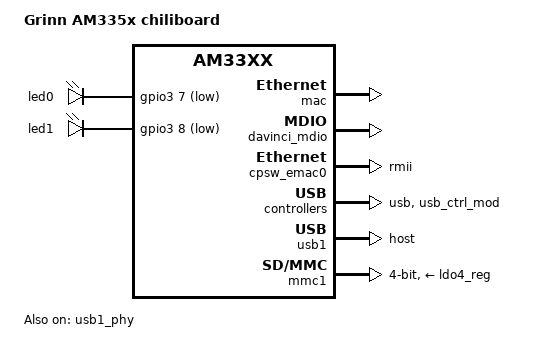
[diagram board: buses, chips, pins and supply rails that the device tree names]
/*
 * Copyright (C) 2015 Grinn - http://www.grinn-global.com
 * Grzegorz Glomb <g.glomb@grinn-global.com>
 *
 * This program is free software; you can redistribute it and/or modify
 * it under the terms of the GNU General Public License version 2 as
 * published by the Free Software Foundation.
 */

/ {
	model = "Grinn AM335x chiliboard";
	compatible = "grinn,am335x-chiliboard", "grinn,am335x-chilisom-gcs2", "ti,am33xx";

	leds {
		pinctrl-names = "default", "sleep";
		pinctrl-0 = <&user_leds_default>;
		pinctrl-1 = <&user_leds_sleep>;

		compatible = "gpio-leds";

		led@0 {
			label = "led0";
			gpios = <&gpio3 7 GPIO_ACTIVE_LOW>;
			linux,default-trigger = "heartbeat";
			default-state = "off";
		};

		led@1 {
			label = "led1";
			gpios = <&gpio3 8 GPIO_ACTIVE_LOW>;
			default-state = "off";
		};
	};
};

&am33xx_pinmux {
	pinctrl-names = "default";

	cpsw_default: cpsw_default {
		pinctrl-single,pins = <
			0x10c (PIN_INPUT_PULLDOWN | MUX_MODE1)	/* mii1_crs.rmii1_crs_dv */
			0x110 (PIN_INPUT_PULLDOWN | MUX_MODE1)	/* mii1_rxerr.rmii1_rxerr */
			0x114 (PIN_OUTPUT | MUX_MODE1)		/* mii1_txen.rmii1_txen */
			0x124 (PIN_OUTPUT | MUX_MODE1)		/* mii1_txd1.rmii1_txd1 */
			0x128 (PIN_OUTPUT | MUX_MODE1)		/* mii1_txd0.rmii1_txd0 */
			0x13c (PIN_INPUT_PULLDOWN | MUX_MODE1)	/* mii1_rxd1.rmii1_rxd1 */
			0x140 (PIN_INPUT_PULLDOWN | MUX_MODE1)	/* mii1_rxd0.rmii1_rxd0 */
			0x144 (PIN_INPUT_PULLDOWN | MUX_MODE0)	/* rmii1_refclk.rmii1_refclk */
		>;
	};

	cpsw_sleep: cpsw_sleep {
		pinctrl-single,pins = <
			0x10c (PIN_INPUT_PULLDOWN | MUX_MODE7)	/* mii1_crs.rmii1_crs_dv */
			0x110 (PIN_INPUT_PULLDOWN | MUX_MODE7)	/* mii1_rxerr.rmii1_rxerr */
			0x114 (PIN_INPUT_PULLDOWN | MUX_MODE7)	/* mii1_txen.rmii1_txen */
			0x124 (PIN_INPUT_PULLDOWN | MUX_MODE7)	/* mii1_txd1.rmii1_txd1 */
			0x128 (PIN_INPUT_PULLDOWN | MUX_MODE7)	/* mii1_txd0.rmii1_txd0 */
			0x13c (PIN_INPUT_PULLDOWN | MUX_MODE7)	/* mii1_rxd1.rmii1_rxd1 */
			0x140 (PIN_INPUT_PULLDOWN | MUX_MODE7)	/* mii1_rxd0.rmii1_rxd0 */
			0x144 (PIN_INPUT_PULLDOWN | MUX_MODE7)	/* rmii1_refclk.rmii1_refclk */
		>;
	};

	davinci_mdio_default: davinci_mdio_default {
		pinctrl-single,pins = <
			/* MDIO */
			0x148 (PIN_INPUT_PULLUP | SLEWCTRL_FAST | MUX_MODE0)	/* mdio_data.mdio_data */
			0x14c (PIN_OUTPUT_PULLUP | MUX_MODE0)			/* mdio_clk.mdio_clk */
		>;
	};

	davinci_mdio_sleep: davinci_mdio_sleep {
		pinctrl-single,pins = <
			/* MDIO reset value */
			0x148 (PIN_INPUT_PULLDOWN | MUX_MODE7)
			0x14c (PIN_INPUT_PULLDOWN | MUX_MODE7)
		>;
	};

	mmc1_pins_default: pinmux_mmc1_pins {
		pinctrl-single,pins = <
			0x0F0 (PIN_INPUT | MUX_MODE0)	/* mmc0_dat3.mmc0_dat3 */
			0x0F4 (PIN_INPUT | MUX_MODE0)	/* mmc0_dat2.mmc0_dat2 */
			0x0F8 (PIN_INPUT | MUX_MODE0)	/* mmc0_dat1.mmc0_dat1 */
			0x0FC (PIN_INPUT | MUX_MODE0)	/* mmc0_dat0.mmc0_dat0 */
			0x100 (PIN_INPUT | MUX_MODE0)	/* mmc0_clk.mmc0_clk */
			0x104 (PIN_INPUT | MUX_MODE0)	/* mmc0_cmd.mmc0_cmd */
			0x160 (PIN_INPUT | MUX_MODE7)	/* spi0_cs1.gpio0_6 */
		>;
	};

	user_leds_default: user_leds_default {
		pinctrl-single,pins = <
			0x1e4 (PIN_OUTPUT | MUX_MODE7)	/* emu0.gpio3_7 */
			0x1e8 (PIN_OUTPUT | MUX_MODE7)	/* emu1.gpio3_8 */
		>;
	};

	user_leds_sleep: user_leds_sleep {
		pinctrl-single,pins = <
			0x1e4 (PIN_INPUT_PULLUP | MUX_MODE7)	/* emu0.gpio3_7 */
			0x1e8 (PIN_INPUT_PULLUP | MUX_MODE7)	/* emu1.gpio3_8 */
		>;
	};

};

&mac {
	slaves = <1>;
	pinctrl-names = "default", "sleep";
	pinctrl-0 = <&cpsw_default>;
	pinctrl-1 = <&cpsw_sleep>;
	status = "okay";
};

&davinci_mdio {
	pinctrl-names = "default", "sleep";
	pinctrl-0 = <&davinci_mdio_default>;
	pinctrl-1 = <&davinci_mdio_sleep>;
	status = "okay";
};

&cpsw_emac0 {
	phy_id = <&davinci_mdio>, <0>;
	phy-mode = "rmii";
};

&phy_sel {
	rmii-clock-ext;
};

&usb {
	status = "okay";
};

&usb_ctrl_mod {
	status = "okay";
};

&usb1_phy {
	status = "okay";
};

&usb1 {
	status = "okay";
	dr_mode = "host";
};

&cppi41dma  {
	status = "okay";
};

&mmc1 {
	status = "okay";
	vmmc-supply = <&ldo4_reg>;
	bus-width = <4>;
	pinctrl-names = "default";
	pinctrl-0 = <&mmc1_pins_default>;
	/* cd-gpios = <&gpio0 6 GPIO_ACTIVE_HIGH>; */
	/* cd-inverted; */
};
